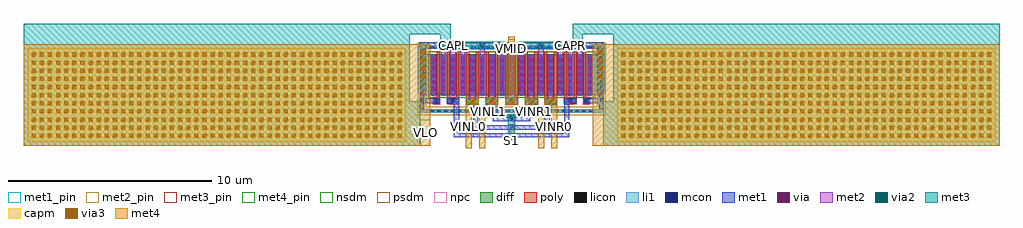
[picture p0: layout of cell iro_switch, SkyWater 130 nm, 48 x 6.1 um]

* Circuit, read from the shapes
.subckt iro_switch CAPL CAPR DISCHARGE RESET S0 S1 VINL0 VINL1 VINR0 VINR1 VLO VMID VOUTL VOUTR
XM1 CAPL VLO VLO VSUBS sky130_fd_pr__nfet_01v8 w=2 l=0.15
XM2 VOUTL DISCHARGE CAPL VSUBS sky130_fd_pr__nfet_01v8 w=2 l=0.15 m=2
XM3 VINL0 S0 CAPL VSUBS sky130_fd_pr__nfet_01v8 w=2 l=0.15 m=2
XM4 VINL1 S1 CAPL VSUBS sky130_fd_pr__nfet_01v8 w=2 l=0.15 m=2
XM5 VMID RESET CAPL VSUBS sky130_fd_pr__nfet_01v8 w=2 l=0.15
XM6 CAPR RESET VMID VSUBS sky130_fd_pr__nfet_01v8 w=2 l=0.15
XM7 VINR1 S1 CAPR VSUBS sky130_fd_pr__nfet_01v8 w=2 l=0.15 m=2
XM8 VINR0 S0 CAPR VSUBS sky130_fd_pr__nfet_01v8 w=2 l=0.15 m=2
XM9 VOUTR DISCHARGE CAPR VSUBS sky130_fd_pr__nfet_01v8 w=2 l=0.15 m=2
XM10 VLO VLO CAPR VSUBS sky130_fd_pr__nfet_01v8 w=2 l=0.15
XC11 VLO CAPL sky130_fd_pr__cap_mim_m3_1 w=18.6 l=4.6
XC12 VLO CAPR sky130_fd_pr__cap_mim_m3_1 w=18.6 l=4.6
.ends

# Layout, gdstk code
import gdstk
lib = gdstk.Library(unit=1e-6, precision=1e-09)
def R(c, l, rs):  # rectangles x0, y0, x1, y1
    for r in rs: c.add(gdstk.rectangle(r[:2], r[2:], *l))
def A(c, l, x, y, w, h, nx, ny, dx, dy):  # array of equal rectangles
    R(c, l, [(x+i*dx, y+j*dy, x+i*dx+w, y+j*dy+h) for i in range(nx) for j in range(ny)])
diff = (65, 20)
poly = (66, 20)
licon = (66, 44)
li1 = (67, 20)
mcon = (67, 44)
met1_pin = (68, 16)
met1 = (68, 20)
via = (68, 44)
met2_pin = (69, 16)
met2 = (69, 20)
via2 = (69, 44)
met3_pin = (70, 16)
met3 = (70, 20)
via3 = (70, 44)
met4_pin = (71, 16)
met4 = (71, 20)
capm = (89, 44)
nsdm = (93, 44)
psdm = (94, 20)
npc = (95, 20)

iro_switch = lib.new_cell('iro_switch')
R(iro_switch, diff, [(-0.49,10.13,8.5,10.3), (-0.49,10.3,-0.32,13.27), (8.33,10.3,8.5,13.27), (0.02,11,7.99,13), (-0.49,13.27,8.5,13.44)])
A(iro_switch, poly, 0.81, 10.56, 0.63, 0.33, 7, 1, 0.96, 0)
A(iro_switch, poly, 0.33, 10.89, 0.15, 2.24, 16, 1, 0.48, 0)
R(iro_switch, poly, [(0.15,10.56,0.48,10.89), (7.53,10.56,7.86,10.89)])
A(iro_switch, licon, 0.01, 10.13, 0.17, 0.17, 24, 2, 0.34, 3.14)
A(iro_switch, licon, 1.04, 10.64, 0.17, 0.17, 7, 1, 0.96, 0)
A(iro_switch, licon, -0.49, 10.68, 0.17, 0.17, 1, 7, 0, 0.34)
A(iro_switch, licon, 8.33, 10.68, 0.17, 0.17, 1, 7, 0, 0.34)
A(iro_switch, licon, 0.08, 11.065, 0.17, 0.17, 17, 6, 0.48, 0.34)
R(iro_switch, licon, [(0.23,10.64,0.4,10.81), (7.61,10.64,7.78,10.81)])
A(iro_switch, li1, 0.81, 10.64, 0.63, 0.17, 7, 1, 0.96, 0)
A(iro_switch, li1, 0.08, 10.98, 0.17, 2.04, 17, 1, 0.48, 0)
R(iro_switch, li1, [(-0.49,10.13,8.5,10.3), (-0.49,10.3,-0.32,13.27), (8.33,10.3,8.5,13.27), (0.15,10.64,0.48,10.81), (7.53,10.64,7.86,10.81), (-0.49,13.27,8.5,13.44)])
A(iro_switch, mcon, -0.49, 10.62, 0.17, 0.17, 1, 7, 0, 0.36)
A(iro_switch, mcon, 1.04, 10.64, 0.17, 0.17, 7, 1, 0.96, 0)
A(iro_switch, mcon, 0.08, 11.195, 0.17, 0.17, 17, 5, 0.48, 0.36)
R(iro_switch, mcon, [(0.23,10.64,0.4,10.81), (7.61,10.64,7.78,10.81)])
R(iro_switch, met1_pin, [(2.13,8.92,5.89,9.13)])
A(iro_switch, met1, 0.83, 10.61, 0.59, 0.23, 3, 1, 0.96, 0)
A(iro_switch, met1, 4.67, 10.61, 0.59, 0.23, 3, 1, 0.96, 0)
A(iro_switch, met1, 0.515, 11, 0.26, 2, 15, 1, 0.48, 0)
R(iro_switch, met1, [(3.875,8.78,4.135,8.92), (1.165,8.92,6.845,9.13), (1.165,9.13,1.42,10.61), (6.59,9.13,6.845,10.61), (3.83,9.3,4.18,9.305), (2.12,9.305,5.885,9.515), (2.12,9.515,2.375,10.61), (3.83,9.515,4.18,9.565), (5.63,9.515,5.885,10.5), (3.83,9.715,4.18,9.72), (3.08,9.72,4.925,9.93), (3.08,9.93,3.335,10.61), (3.83,9.93,4.18,9.98), (4.67,9.93,4.925,10.5), (-0.52,10.3,-0.29,10.61), (8.3,10.3,8.53,10.61), (4.67,10.5,4.93,10.61), (5.63,10.5,5.89,10.61), (4.04,10.57,4.295,10.58), (3.71,10.58,4.3,10.84), (-0.52,10.61,0.46,10.84), (7.55,10.61,8.53,10.84), (-0.52,10.84,-0.29,11), (8.3,10.84,8.53,11), (-0.52,11,0.295,13), (7.715,11,8.545,13), (-0.52,13,-0.22,13.3), (8.215,13,8.545,13.3), (-0.52,13.3,8.545,13.6)])
A(iro_switch, via, -0.445, 11.165, 0.15, 0.15, 1, 7, 0, 0.32)
A(iro_switch, via, 8.305, 11.165, 0.15, 0.15, 1, 7, 0, 0.32)
A(iro_switch, via, 0.09, 11.285, 0.15, 0.15, 17, 5, 0.48, 0.32)
R(iro_switch, via, [(3.93,9.36,4.08,9.51), (3.93,9.775,4.08,9.925), (3.93,10.635,4.08,10.785)])
R(iro_switch, met2_pin, [(3.845,8.775,4.165,8.78), (0.995,12.91,1.255,13.695), (6.755,12.91,7.015,13.695), (3.875,12.94,4.135,13.62)])
A(iro_switch, met2, 0.515, 11.06, 0.26, 2.2, 8, 1, 0.96, 0)
A(iro_switch, met2, 0.505, 13.26, 0.28, 0.37, 8, 1, 0.96, 0)
R(iro_switch, met2, [(3.845,8.775,4.165,9.3), (3.83,9.3,4.18,9.565), (3.815,9.715,4.195,10.065), (1.945,10.515,2.225,10.885), (2.905,10.515,3.185,10.885), (3.865,10.515,4.145,10.57), (4.825,10.515,5.105,10.885), (5.785,10.515,6.065,10.885), (3.71,10.57,4.3,10.85), (3.865,10.85,4.145,10.885), (1.955,10.885,2.215,12.94), (2.915,10.885,3.175,12.94), (4.835,10.885,5.095,12.94), (5.795,10.885,6.055,12.94), (-0.52,11,-0.22,13.44), (8.23,11,8.53,13.44), (0.035,11.06,0.295,12.94), (0.995,11.06,1.255,13.695), (3.875,11.06,4.135,13.62), (6.755,11.06,7.015,13.695), (7.715,11.06,7.975,12.94)])
A(iro_switch, via2, -0.47, 11.515, 0.2, 0.2, 1, 5, 0, 0.4)
A(iro_switch, via2, 8.28, 11.515, 0.2, 0.2, 1, 5, 0, 0.4)
A(iro_switch, via2, 0.545, 13.345, 0.2, 0.2, 8, 1, 0.96, 0)
R(iro_switch, via2, [(3.905,9.78,4.105,9.98), (1.985,10.6,2.185,10.8), (2.945,10.6,3.145,10.8), (4.865,10.6,5.065,10.8), (5.825,10.6,6.025,10.8), (3.905,10.605,4.105,10.805)])
R(iro_switch, met3_pin, [(3.845,8.77,4.165,8.775), (0.785,13.26,1.465,13.63), (6.545,13.26,7.225,13.63)])
A(iro_switch, met3, 1.77, 10.5, 0.63, 0.385, 5, 1, 0.96, 0)
R(iro_switch, met3, [(-20,8.5,-0.5,10.7), (8.5,8.5,28,10.7), (3.845,8.77,4.165,9.715), (3.815,9.715,4.195,10.065), (-20,10.7,-1,14), (9,10.7,28,14), (-0.6,11.1,-0.2,13.5), (8.2,11.1,8.6,13.5), (0.48,13.26,3.69,13.63), (4.32,13.26,7.53,13.63), (0.5,13.63,1,14), (7,13.63,7.5,14), (-20,14,1,14.5), (7,14,28,14.5)])
A(iro_switch, via3, -19.6, 8.9, 0.2, 0.2, 46, 11, 0.4, 0.4)
A(iro_switch, via3, 9.4, 8.9, 0.2, 0.2, 46, 11, 0.4, 0.4)
A(iro_switch, via3, 1.985, 10.595, 0.2, 0.2, 5, 1, 0.96, 0)
A(iro_switch, via3, -0.47, 11.82, 0.2, 0.2, 1, 4, 0, 0.4)
A(iro_switch, via3, 8.28, 11.82, 0.2, 0.2, 1, 4, 0, 0.4)
R(iro_switch, met4_pin, [(1.755,8.4,2.055,10.535), (5.955,8.4,6.255,10.535), (-0.5,8.5,0,9.8), (2.705,9.9,3.005,10.535), (5.005,9.9,5.305,10.535), (3.845,13.725,4.165,13.86)])
R(iro_switch, met4, [(1.755,8.4,2.055,10.5), (2.405,8.4,2.705,9.9), (5.305,8.4,5.605,9.9), (5.955,8.4,6.255,10.5), (-20,8.5,0,13.5), (8,8.5,28,13.5), (2.405,9.9,3.005,10.2), (5.005,9.9,5.605,10.2), (2.705,10.2,3.005,10.5), (5.005,10.2,5.305,10.5), (1.755,10.5,2.4,10.885), (2.705,10.5,3.36,10.885), (3.69,10.5,4.32,10.885), (4.65,10.5,5.305,10.885), (5.61,10.5,6.255,10.885), (3.845,10.885,4.165,13.86)])
R(iro_switch, capm, [(-19.8,8.7,-1.2,13.3), (9.2,8.7,27.8,13.3)])
R(iro_switch, nsdm, [(-0.105,10.875,8.115,13.125)])
R(iro_switch, psdm, [(-0.615,10.005,8.625,10.425), (-0.615,10.425,-0.195,13.145), (8.205,10.425,8.625,13.145), (-0.615,13.145,8.625,13.565)])
A(iro_switch, npc, 0.94, 10.54, 0.37, 0.37, 7, 1, 0.96, 0)
R(iro_switch, npc, [(0.13,10.54,0.5,10.91), (7.51,10.54,7.88,10.91)])
iro_switch.add(gdstk.Label('S1', (4.005,8.772), layer=70, texttype=5))
iro_switch.add(gdstk.Label('CAPR', (6.885,13.445), layer=70, texttype=5))
iro_switch.add(gdstk.Label('CAPL', (1.125,13.445), layer=70, texttype=5))
iro_switch.add(gdstk.Label('S0', (4.005,8.777), layer=69, texttype=5))
iro_switch.add(gdstk.Label('VOUTR', (6.885,13.302), layer=69, texttype=5))
iro_switch.add(gdstk.Label('VOUTL', (1.125,13.302), layer=69, texttype=5))
iro_switch.add(gdstk.Label('VMID', (4.005,13.28), layer=69, texttype=5))
iro_switch.add(gdstk.Label('DISCHARGE', (4.01,9.025), layer=68, texttype=5))
iro_switch.add(gdstk.Label('VINR1', (5.155,10.217), layer=71, texttype=5))
iro_switch.add(gdstk.Label('VINL1', (2.855,10.217), layer=71, texttype=5))
iro_switch.add(gdstk.Label('VINR0', (6.105,9.467), layer=71, texttype=5))
iro_switch.add(gdstk.Label('VINL0', (1.905,9.467), layer=71, texttype=5))
iro_switch.add(gdstk.Label('VLO', (-0.25,9.15), layer=71, texttype=5))
iro_switch.add(gdstk.Label('RESET', (4.005,13.792), layer=71, texttype=5))

lib.write_gds('iro_switch.gds')
